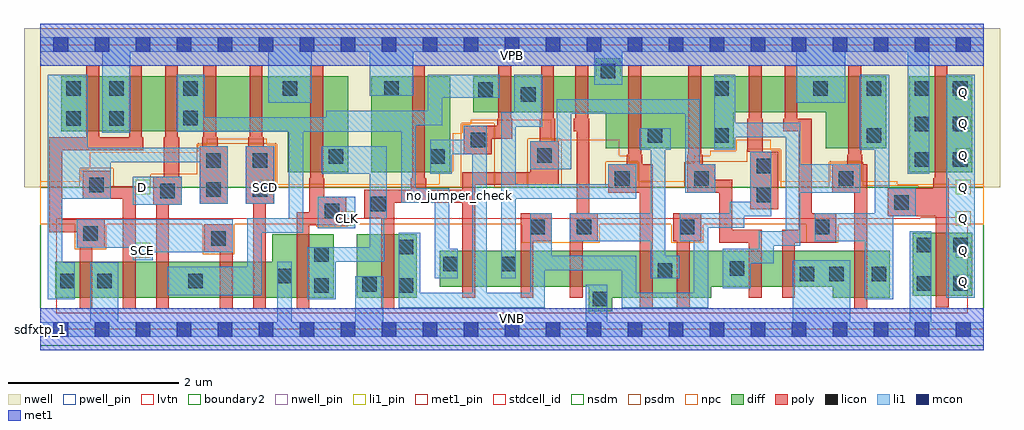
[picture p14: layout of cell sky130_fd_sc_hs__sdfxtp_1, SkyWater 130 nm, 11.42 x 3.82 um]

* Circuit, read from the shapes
.subckt sky130_fd_sc_hs__sdfxtp_1 CLK D Q SCD SCE VGND VNB VPB VPWR
XM1 VGND SCE n1 VNB sky130_fd_pr__nfet_01v8_lvt w=0.42 l=0.15
XM2 n2 n1 VGND VNB sky130_fd_pr__nfet_01v8_lvt w=0.42 l=0.15
XM3 n3 D n2 VNB sky130_fd_pr__nfet_01v8_lvt w=0.42 l=0.15
XM4 n4 SCE n3 VNB sky130_fd_pr__nfet_01v8_lvt w=0.42 l=0.15
XM5 VGND SCD n4 VNB sky130_fd_pr__nfet_01v8_lvt w=0.42 l=0.15
XM6 n5 CLK VGND VNB sky130_fd_pr__nfet_01v8_lvt w=0.74 l=0.15
XM7 n6 n5 VGND VNB sky130_fd_pr__nfet_01v8_lvt w=0.74 l=0.15
XM8 n7 n5 n3 VNB sky130_fd_pr__nfet_01v8_lvt w=0.42 l=0.15
XM9 n8 n6 n7 VNB sky130_fd_pr__nfet_01v8_lvt w=0.42 l=0.15
XM10 VGND n9 n8 VNB sky130_fd_pr__nfet_01v8_lvt w=0.42 l=0.15
XM11 n9 n7 VGND VNB sky130_fd_pr__nfet_01v8_lvt w=0.55 l=0.15
XM12 n10 n6 n9 VNB sky130_fd_pr__nfet_01v8_lvt w=0.55 l=0.15
XM13 n11 n5 n10 VNB sky130_fd_pr__nfet_01v8_lvt w=0.42 l=0.15
XM14 VGND n12 n11 VNB sky130_fd_pr__nfet_01v8_lvt w=0.42 l=0.15
XM15 n12 n10 VGND VNB sky130_fd_pr__nfet_01v8_lvt w=0.55 l=0.15
XM16 Q n12 VGND VNB sky130_fd_pr__nfet_01v8_lvt w=0.74 l=0.15
XM17 VPWR SCE n1 VPB sky130_fd_pr__pfet_01v8 w=0.64 l=0.15
XM18 n13 SCE VPWR VPB sky130_fd_pr__pfet_01v8 w=0.64 l=0.15
XM19 n3 D n13 VPB sky130_fd_pr__pfet_01v8 w=0.64 l=0.15
XM20 n14 n1 n3 VPB sky130_fd_pr__pfet_01v8 w=0.64 l=0.15
XM21 VPWR SCD n14 VPB sky130_fd_pr__pfet_01v8 w=0.64 l=0.15
XM22 n5 CLK VPWR VPB sky130_fd_pr__pfet_01v8 w=1.12 l=0.15
XM23 n6 n5 VPWR VPB sky130_fd_pr__pfet_01v8 w=1.12 l=0.15
XM24 n7 n6 n3 VPB sky130_fd_pr__pfet_01v8 w=0.42 l=0.15
XM25 n15 n5 n7 VPB sky130_fd_pr__pfet_01v8 w=0.42 l=0.15
XM26 VPWR n9 n15 VPB sky130_fd_pr__pfet_01v8 w=0.42 l=0.15
XM27 n9 n7 VPWR VPB sky130_fd_pr__pfet_01v8 w=0.84 l=0.15
XM28 n10 n5 n9 VPB sky130_fd_pr__pfet_01v8 w=0.84 l=0.15
XM29 n16 n6 n10 VPB sky130_fd_pr__pfet_01v8 w=0.42 l=0.15
XM30 VPWR n12 n16 VPB sky130_fd_pr__pfet_01v8 w=0.42 l=0.15
XM31 n12 n10 VPWR VPB sky130_fd_pr__pfet_01v8 w=0.84 l=0.15
XM32 Q n12 VPWR VPB sky130_fd_pr__pfet_01v8 w=1.12 l=0.15
.ends

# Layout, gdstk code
import gdstk
lib = gdstk.Library(unit=1e-6, precision=1e-09)
def R(c, l, rs):  # rectangles x0, y0, x1, y1
    for r in rs: c.add(gdstk.rectangle(r[:2], r[2:], *l))
def A(c, l, x, y, w, h, nx, ny, dx, dy):  # array of equal rectangles
    R(c, l, [(x+i*dx, y+j*dy, x+i*dx+w, y+j*dy+h) for i in range(nx) for j in range(ny)])
def P(c, l, *ps):  # polygons
    for p in ps: c.add(gdstk.Polygon(p, *l))
nwell_pin = (64, 16)
nwell = (64, 20)
diff = (65, 20)
poly = (66, 20)
licon = (66, 44)
li1_pin = (67, 16)
li1 = (67, 20)
mcon = (67, 44)
met1_pin = (68, 16)
met1 = (68, 20)
stdcell_id = (81, 4)
nsdm = (93, 44)
psdm = (94, 20)
npc = (95, 20)
pwell_pin = (122, 16)
lvtn = (125, 44)
boundary2 = (236, 0)

sky130_fd_sc_hs__sdfxtp_ = lib.new_cell('sky130_fd_sc_hs__sdfxtp_1')
R(sky130_fd_sc_hs__sdfxtp_, nwell_pin, [(0,3.085,11.04,3.33)])
R(sky130_fd_sc_hs__sdfxtp_, nwell, [(-0.19,1.66,11.23,3.52)])
R(sky130_fd_sc_hs__sdfxtp_, diff, [(3.705,0.37,4.405,1.11), (10.21,0.39,10.905,1.13), (3.875,1.84,4.795,2.96), (10.17,1.84,10.905,2.96)])
P(sky130_fd_sc_hs__sdfxtp_, diff, [(3.435,1.11),(2.715,1.11),(2.715,0.79),(0.175,0.79),(0.175,0.37),(3.435,0.37)],
  [(3.605,2.96),(0.245,2.96),(0.245,2.32),(2.895,2.32),(2.895,1.84),(3.605,1.84)],
  [(9.9,2.96),(6.79,2.96),(6.79,3.17),(6.5,3.17),(6.5,2.96),(5.065,2.96),(5.065,2.54),(6.615,2.54),(6.615,2.12),(8.115,2.12),(8.115,2.54),(9.19,2.54),(9.19,2.12),(9.9,2.12)],
  [(9.94,0.92),(4.675,0.92),(4.675,0.5),(6.42,0.5),(6.42,0.21),(6.695,0.21),(6.695,0.37),(7.85,0.37),(7.85,0.5),(9.275,0.5),(9.275,0.37),(9.94,0.37)])
P(sky130_fd_sc_hs__sdfxtp_, poly, [(10.63,1.765),(10.615,1.765),(10.615,3.09),(10.465,3.09),(10.465,1.765),(10.45,1.765),(10.45,1.65),(9.915,1.65),(9.915,1.32),(10.48,1.32),(10.48,0.26),(10.63,0.26)],
  [(9.675,1.93),(9.62,1.93),(9.62,2.045),(9.605,2.045),(9.605,3.09),(9.455,3.09),(9.455,2.045),(9.44,2.045),(9.44,1.93),(9.265,1.93),(9.265,1.6),(9.525,1.6),(9.525,0.24),(9.675,0.24)],
  [(9.315,1.36),(9.025,1.36),(9.025,2.465),(8.86,2.465),(8.86,3.09),(8.71,3.09),(8.71,2.465),(8.695,2.465),(8.695,2.315),(8.875,2.315),(8.875,1.165),(8.68,1.165),(8.68,0.37),(8.83,0.37),(8.83,1.015),(9.315,1.015)],
  [(8.635,2.075),(8.455,2.075),(8.455,2.465),(8.44,2.465),(8.44,3.09),(8.29,3.09),(8.29,2.465),(8.275,2.465),(8.275,2.075),(8.305,2.075),(8.305,1.405),(8.635,1.405)],
  [(8.44,1.165),(8.095,1.165),(8.095,1.75),(7.9,1.75),(7.9,1.93),(7.75,1.93),(7.75,2.045),(7.735,2.045),(7.735,3.09),(7.585,3.09),(7.585,2.045),(7.57,2.045),(7.57,1.6),(7.945,1.6),(7.945,1.015),(8.29,1.015),(8.29,0.37),(8.44,0.37)],
  [(7.735,1.36),(7.405,1.36),(7.405,1.03),(7.45,1.03),(7.45,0.24),(7.6,0.24),(7.6,1.03),(7.735,1.03)],
  [(7.165,1.93),(7.045,1.93),(7.045,2.045),(7.03,2.045),(7.03,3.09),(6.88,3.09),(6.88,2.045),(6.865,2.045),(6.865,1.93),(6.645,1.93),(6.645,1.6),(7.015,1.6),(7.015,0.24),(7.165,0.24)],
  [(6.525,1.36),(6.425,1.36),(6.425,2.465),(6.41,2.465),(6.41,3.09),(6.26,3.09),(6.26,2.465),(6.245,2.465),(6.245,2.315),(6.275,2.315),(6.275,1.36),(6.195,1.36),(6.195,0.37),(6.345,0.37),(6.345,1.03),(6.525,1.03)],
  [(6.065,2.2),(6.025,2.2),(6.025,2.465),(6.01,2.465),(6.01,3.09),(5.86,3.09),(5.86,2.465),(5.845,2.465),(5.845,2.2),(5.735,2.2),(5.735,1.84),(4.94,1.84),(4.94,1.63),(4.515,1.63),(4.515,1.765),(4.5,1.765),(4.5,3.09),(4.35,3.09),(4.35,1.765),(4.335,1.765),(4.335,1.63),(3.79,1.63),(3.79,1.3),(3.99,1.3),(3.99,0.24),(4.14,0.24),(4.14,1.48),(4.94,1.48),(4.94,0.37),(5.09,0.37),(5.09,1.69),(6.065,1.69)],
  [(5.985,1.36),(5.62,1.36),(5.62,0.37),(5.77,0.37),(5.77,1.03),(5.985,1.03)],
  [(5.525,2.465),(5.51,2.465),(5.51,3.09),(5.36,3.09),(5.36,2.465),(5.345,2.465),(5.345,2.38),(4.955,2.38),(4.955,2.05),(5.285,2.05),(5.285,2.23),(5.525,2.23)],
  [(3.58,1.55),(3.325,1.55),(3.325,1.765),(3.31,1.765),(3.31,3.09),(3.16,3.09),(3.16,1.765),(3.145,1.765),(3.145,1.37),(3,1.37),(3,0.24),(3.15,0.24),(3.15,1.22),(3.58,1.22)],
  [(2.735,2.14),(2.615,2.14),(2.615,2.245),(2.6,2.245),(2.6,3.09),(2.45,3.09),(2.45,2.245),(2.435,2.245),(2.435,2.14),(2.405,2.14),(2.405,1.47),(2.49,1.47),(2.49,0.24),(2.64,0.24),(2.64,1.47),(2.735,1.47)],
  [(2.25,1.23),(1.92,1.23),(1.92,0.9),(2.1,0.9),(2.1,0.24),(2.25,0.24)],
  [(2.195,2.14),(2.075,2.14),(2.075,2.245),(2.06,2.245),(2.06,3.09),(1.91,3.09),(1.91,2.245),(1.895,2.245),(1.895,2.14),(1.865,2.14),(1.865,1.47),(2.195,1.47)],
  [(1.655,1.785),(1.625,1.785),(1.625,2.245),(1.61,2.245),(1.61,3.09),(1.46,3.09),(1.46,2.245),(1.445,2.245),(1.445,1.785),(1.325,1.785),(1.325,1.455),(1.355,1.455),(1.355,0.24),(1.505,0.24),(1.505,1.455),(1.655,1.455)],
  [(1.205,2.245),(1.19,2.245),(1.19,3.09),(1.04,3.09),(1.04,2.245),(0.69,2.245),(0.69,3.09),(0.54,3.09),(0.54,2.245),(0.105,2.245),(0.105,1.135),(0.425,1.135),(0.425,0.955),(0.46,0.955),(0.46,0.24),(0.61,0.24),(0.61,0.955),(0.755,0.955),(0.755,1.285),(0.255,1.285),(0.255,2.095),(1.205,2.095)],
  [(1.115,1.675),(0.825,1.675),(0.825,1.855),(0.495,1.855),(0.495,1.525),(0.965,1.525),(0.965,0.24),(1.115,0.24)])
A(sky130_fd_sc_hs__sdfxtp_, licon, 10.23, 1.9, 0.17, 0.17, 1, 3, 0, 0.415)
A(sky130_fd_sc_hs__sdfxtp_, licon, 10.68, 1.9, 0.17, 0.17, 1, 3, 0, 0.415)
R(sky130_fd_sc_hs__sdfxtp_, licon, [(6.465,0.27,6.635,0.44), (3.205,0.43,3.375,0.6), (4.195,0.43,4.365,0.6), (3.765,0.44,3.935,0.61), (10.255,0.45,10.425,0.62), (10.685,0.45,10.855,0.62), (0.235,0.48,0.405,0.65), (0.665,0.48,0.835,0.65), (1.73,0.48,1.9,0.65), (2.775,0.54,2.945,0.71), (8.885,0.56,9.055,0.73), (9.23,0.56,9.4,0.73), (9.73,0.56,9.9,0.73), (7.225,0.6,7.395,0.77), (8.065,0.625,8.235,0.795), (4.715,0.68,4.885,0.85), (5.395,0.68,5.565,0.85), (3.205,0.79,3.375,0.96), (4.195,0.88,4.365,1.05), (10.255,0.9,10.425,1.07), (10.685,0.9,10.855,1.07), (2,0.98,2.17,1.15), (0.505,1.035,0.675,1.205), (5.735,1.11,5.905,1.28), (6.275,1.11,6.445,1.28), (7.485,1.11,7.655,1.28), (9.065,1.11,9.235,1.28), (3.33,1.3,3.5,1.47), (3.87,1.38,4.04,1.55), (9.995,1.4,10.165,1.57), (8.385,1.485,8.555,1.655), (1.405,1.535,1.575,1.705), (1.945,1.55,2.115,1.72), (2.485,1.55,2.655,1.72), (0.575,1.605,0.745,1.775), (6.725,1.68,6.895,1.85), (7.65,1.68,7.82,1.85), (9.345,1.68,9.515,1.85), (8.385,1.825,8.555,1.995), (1.945,1.89,2.115,2.06), (2.485,1.89,2.655,2.06), (3.375,1.935,3.545,2.105), (4.565,1.935,4.735,2.105), (5.815,1.95,5.985,2.12), (5.035,2.13,5.205,2.3), (7.11,2.18,7.28,2.35), (7.885,2.18,8.055,2.35), (9.67,2.18,9.84,2.35), (0.305,2.38,0.475,2.55), (0.805,2.38,0.975,2.55), (1.675,2.39,1.845,2.56), (5.625,2.665,5.795,2.835), (5.125,2.72,5.295,2.89), (0.305,2.73,0.475,2.9), (0.805,2.73,0.975,2.9), (1.675,2.73,1.845,2.9), (2.835,2.73,3.005,2.9), (4.025,2.73,4.195,2.9), (7.885,2.73,8.055,2.9), (9.045,2.73,9.215,2.9), (9.67,2.73,9.84,2.9), (6.56,2.94,6.73,3.11)])
A(sky130_fd_sc_hs__sdfxtp_, li1_pin, 10.715, 0.47, 0.17, 0.17, 1, 7, 0, 0.37)
R(sky130_fd_sc_hs__sdfxtp_, li1_pin, [(1.115,0.84,1.285,1.01), (3.515,1.21,3.685,1.38), (1.115,1.58,1.285,1.75), (2.555,1.58,2.725,1.75)])
R(sky130_fd_sc_hs__sdfxtp_, li1, [(10.6,0.37,10.935,2.98), (3.25,1.18,3.685,1.55), (1.085,1.455,1.655,1.785), (2.405,1.47,2.74,2.14)])
P(sky130_fd_sc_hs__sdfxtp_, li1, [(0,-0.085),(0,0.085),(0.585,0.085),(0.585,0.785),(0.915,0.785),(0.915,0.085),(2.775,0.085),(2.775,0.79),(2.945,0.79),(2.945,0.085),(3.685,0.085),(3.685,0.62),(4.015,0.62),(4.015,0.085),(6.385,0.085),(6.385,0.52),(6.635,0.52),(6.635,0.085),(8.805,0.085),(8.805,0.81),(9.48,0.81),(9.48,0.085),(10.175,0.085),(10.175,1.15),(10.425,1.15),(10.425,0.085),(11.04,0.085),(11.04,-0.085)],
  [(0,3.245),(0,3.415),(11.04,3.415),(11.04,3.245),(10.4,3.245),(10.4,1.82),(10.15,1.82),(10.15,3.245),(9.42,3.245),(9.42,2.65),(8.845,2.65),(8.845,3.245),(6.81,3.245),(6.81,2.86),(6.48,2.86),(6.48,3.245),(4.365,3.245),(4.365,2.73),(3.855,2.73),(3.855,3.245),(3.175,3.245),(3.175,2.65),(2.67,2.65),(2.67,3.245),(1.055,3.245),(1.055,2.3),(0.725,2.3),(0.725,3.245)],
  [(0.425,0.955),(0.425,1.285),(2.25,1.285),(2.25,0.9),(1.315,0.9),(1.315,0.81),(1.085,0.81),(1.085,0.955)],
  [(9.935,1.65),(10.245,1.65),(10.245,1.32),(9.98,1.32),(9.98,0.35),(9.65,0.35),(9.65,1.03),(9.065,1.03),(9.065,1.36),(9.765,1.36),(9.765,2.1),(9.59,2.1),(9.59,2.98),(9.935,2.98)],
  [(5.395,2.54),(5.545,2.54),(5.545,2.98),(5.875,2.98),(5.875,2.37),(5.565,2.37),(5.565,1.7),(6.645,1.7),(6.645,1.93),(6.975,1.93),(6.975,1.53),(5.565,1.53),(5.565,0.595),(5.395,0.595)],
  [(1.925,2.48),(3.345,2.48),(3.345,2.56),(4.535,2.56),(4.535,2.98),(5.375,2.98),(5.375,2.71),(4.705,2.71),(4.705,2.39),(4.395,2.39),(4.395,1.65),(4.785,1.65),(4.785,0.94),(4.885,0.94),(4.885,0.595),(4.615,0.595),(4.615,1.48),(4.225,1.48),(4.225,2.31),(3.08,2.31),(3.08,1.13),(2.59,1.13),(2.59,0.4),(1.485,0.4),(1.485,0.73),(2.42,0.73),(2.42,1.3),(2.91,1.3),(2.91,2.31),(1.595,2.31),(1.595,2.98),(1.925,2.98)],
  [(0.555,2.125),(1.865,2.125),(1.865,2.14),(2.195,2.14),(2.195,1.47),(1.865,1.47),(1.865,1.955),(0.825,1.955),(0.825,1.525),(0.255,1.525),(0.255,0.785),(0.405,0.785),(0.405,0.35),(0.085,0.35),(0.085,2.98),(0.555,2.98)],
  [(8.135,2.415),(8.895,2.415),(8.895,1.93),(9.595,1.93),(9.595,1.6),(8.895,1.6),(8.895,0.98),(8.58,0.98),(8.58,0.77),(8.315,0.77),(8.315,0.48),(7.985,0.48),(7.985,0.94),(8.41,0.94),(8.41,1.15),(8.725,1.15),(8.725,2.245),(8.135,2.245),(8.135,2.1),(7.885,2.1),(7.885,2.98),(8.135,2.98)],
  [(4.025,0.79),(3.455,0.79),(3.455,0.35),(3.125,0.35),(3.125,0.96),(3.855,0.96),(3.855,1.82),(3.295,1.82),(3.295,2.14),(4.055,2.14),(4.055,1.3),(4.025,1.3)],
  [(7.715,2.69),(7.715,1.93),(7.9,1.93),(7.9,1.6),(7.545,1.6),(7.545,2.52),(6.215,2.52),(6.215,1.87),(5.735,1.87),(5.735,2.2),(6.045,2.2),(6.045,2.69)],
  [(5.225,0.425),(5.735,0.425),(5.735,1.36),(5.985,1.36),(5.985,0.86),(6.975,0.86),(6.975,0.425),(7.645,0.425),(7.645,1.03),(7.485,1.03),(7.485,1.36),(8.07,1.36),(8.07,1.49),(8.305,1.49),(8.305,2.075),(8.555,2.075),(8.555,1.32),(8.24,1.32),(8.24,1.19),(7.815,1.19),(7.815,0.255),(6.805,0.255),(6.805,0.69),(5.905,0.69),(5.905,0.255),(4.195,0.255),(4.195,1.13),(4.445,1.13),(4.445,0.425),(5.055,0.425),(5.055,2.05),(4.815,2.05),(4.815,1.82),(4.565,1.82),(4.565,2.22),(4.955,2.22),(4.955,2.38),(5.225,2.38)],
  [(7.315,0.86),(7.475,0.86),(7.475,0.595),(7.145,0.595),(7.145,1.03),(6.195,1.03),(6.195,1.36),(7.145,1.36),(7.145,2.1),(7.015,2.1),(7.015,2.35),(7.375,2.35),(7.375,2.1),(7.315,2.1)])
A(sky130_fd_sc_hs__sdfxtp_, mcon, 0.155, -0.085, 0.17, 0.17, 23, 2, 0.48, 3.33)
R(sky130_fd_sc_hs__sdfxtp_, met1_pin, [(0,0,11.04,0.245), (0,3.085,11.04,3.33)])
R(sky130_fd_sc_hs__sdfxtp_, met1, [(0,-0.245,11.04,0.245), (0,3.085,11.04,3.575)])
R(sky130_fd_sc_hs__sdfxtp_, stdcell_id, [(0,0,11.04,3.33)])
R(sky130_fd_sc_hs__sdfxtp_, nsdm, [(0,-0.19,11.04,1.66)])
P(sky130_fd_sc_hs__sdfxtp_, psdm, [(11.04,3.52),(0,3.52),(0,1.66),(0.465,1.66),(0.465,1.885),(0.855,1.885),(0.855,1.66),(1.295,1.66),(1.295,1.815),(1.835,1.815),(1.835,2.17),(2.765,2.17),(2.765,1.66),(4.925,1.66),(4.925,2.41),(5.315,2.41),(5.315,1.66),(5.705,1.66),(5.705,2.23),(6.095,2.23),(6.095,1.66),(6.615,1.66),(6.615,1.96),(7.005,1.96),(7.005,1.66),(7.54,1.66),(7.54,1.96),(8.275,1.96),(8.275,2.105),(8.665,2.105),(8.665,1.66),(9.235,1.66),(9.235,1.96),(9.625,1.96),(9.625,1.68),(10.275,1.68),(10.275,1.66),(11.04,1.66)])
P(sky130_fd_sc_hs__sdfxtp_, npc, [(11.04,1.7),(10.03,1.7),(10.03,1.73),(9.615,1.73),(9.615,1.95),(9.245,1.95),(9.245,1.73),(8.655,1.73),(8.655,2.095),(8.55,2.095),(8.55,2.215),(8.145,2.215),(8.145,2.09),(7.84,2.09),(7.84,2.03),(7.655,2.03),(7.655,1.95),(7.55,1.95),(7.55,1.73),(6.995,1.73),(6.995,1.95),(6.89,1.95),(6.89,2.03),(6.775,2.03),(6.775,2.215),(6.085,2.215),(6.085,2.22),(5.98,2.22),(5.98,2.45),(5.04,2.45),(5.04,2.4),(4.935,2.4),(4.935,2.295),(4.825,2.295),(4.825,1.845),(4.67,1.845),(4.67,1.7),(2.755,1.7),(2.755,2.16),(2.65,2.16),(2.65,2.23),(1.95,2.23),(1.95,2.16),(1.845,2.16),(1.845,2.07),(0.58,2.07),(0.58,1.875),(0.475,1.875),(0.475,1.73),(0,1.73),(0,1.23),(0.405,1.23),(0.405,0.935),(0.775,0.935),(0.775,1.23),(1.9,1.23),(1.9,0.88),(2.27,0.88),(2.27,1.23),(3.23,1.23),(3.23,1.2),(3.6,1.2),(3.6,1.23),(5.635,1.23),(5.635,1.01),(6.545,1.01),(6.545,1.23),(7.385,1.23),(7.385,1.01),(7.755,1.01),(7.755,1.23),(8.965,1.23),(8.965,1.01),(9.335,1.01),(9.335,1.23),(11.04,1.23)])
R(sky130_fd_sc_hs__sdfxtp_, pwell_pin, [(0,0,11.04,0.245)])
P(sky130_fd_sc_hs__sdfxtp_, lvtn, [(10.85,1.3),(10.81,1.3),(10.81,1.31),(10.3,1.31),(10.3,1.3),(0.19,1.3),(0.19,0.19),(10.85,0.19)])
R(sky130_fd_sc_hs__sdfxtp_, boundary2, [(0,0,11.04,3.33)])
sky130_fd_sc_hs__sdfxtp_.add(gdstk.Label('sdfxtp_1', (0,0), layer=83, texttype=44))
sky130_fd_sc_hs__sdfxtp_.add(gdstk.Label('no_jumper_check', (4.9,1.565), layer=83, texttype=44))
sky130_fd_sc_hs__sdfxtp_.add(gdstk.Label('VNB', (5.52,0.123), layer=64, texttype=59))
sky130_fd_sc_hs__sdfxtp_.add(gdstk.Label('VPB', (5.52,3.208), layer=64, texttype=5))
sky130_fd_sc_hs__sdfxtp_.add(gdstk.Label('VPWR', (5.52,3.208), layer=68, texttype=5))
sky130_fd_sc_hs__sdfxtp_.add(gdstk.Label('VGND', (5.52,0.123), layer=68, texttype=5))
sky130_fd_sc_hs__sdfxtp_.add(gdstk.Label('SCE', (1.2,0.925), layer=67, texttype=5))
sky130_fd_sc_hs__sdfxtp_.add(gdstk.Label('Q', (10.8,0.555), layer=67, texttype=5))
sky130_fd_sc_hs__sdfxtp_.add(gdstk.Label('Q', (10.8,0.925), layer=67, texttype=5))
sky130_fd_sc_hs__sdfxtp_.add(gdstk.Label('Q', (10.8,1.295), layer=67, texttype=5))
sky130_fd_sc_hs__sdfxtp_.add(gdstk.Label('Q', (10.8,1.665), layer=67, texttype=5))
sky130_fd_sc_hs__sdfxtp_.add(gdstk.Label('Q', (10.8,2.035), layer=67, texttype=5))
sky130_fd_sc_hs__sdfxtp_.add(gdstk.Label('Q', (10.8,2.405), layer=67, texttype=5))
sky130_fd_sc_hs__sdfxtp_.add(gdstk.Label('Q', (10.8,2.775), layer=67, texttype=5))
sky130_fd_sc_hs__sdfxtp_.add(gdstk.Label('CLK', (3.6,1.295), layer=67, texttype=5))
sky130_fd_sc_hs__sdfxtp_.add(gdstk.Label('SCD', (2.64,1.665), layer=67, texttype=5))
sky130_fd_sc_hs__sdfxtp_.add(gdstk.Label('D', (1.2,1.665), layer=67, texttype=5))

lib.write_gds('sky130_fd_sc_hs__sdfxtp_1.gds')
